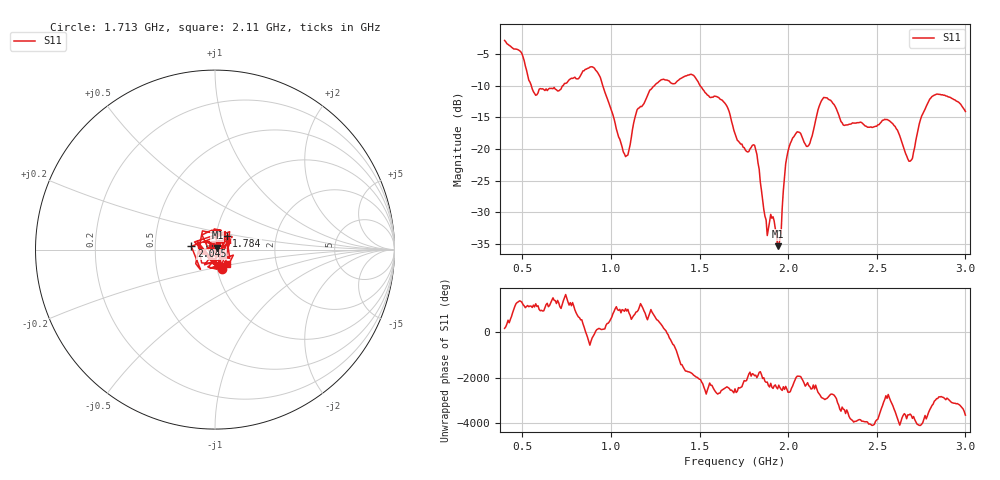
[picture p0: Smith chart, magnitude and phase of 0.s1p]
!Created with skrf (http://scikit-rf.org).
# Hz S RI R 50.0
!freq ReS11 ImS11
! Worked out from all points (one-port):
!   401 points, 400 MHz to 3 GHz, reference 50 ohm
!   lowest |S11| = -35.4 dB at 1.94 GHz (marker M1), VSWR 1.03, Z = 51.3 + j1.1 ohm
!   |S11| at or under -10 dB: 550.8 MHz to 728.3 MHz (177.5 MHz wide, 27.8 % of centre); 954 MHz to 1.245 GHz (291.5 MHz wide, 26.5 % of centre); 1.503 GHz to end of sweep
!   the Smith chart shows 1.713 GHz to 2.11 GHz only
!   S11 on the Smith chart (normalised r, x): 1.713 GHz: 1.06, -0.24; 1.784 GHz: 1.12, +0.17; 2.045 GHz: 0.77, +0.03; 2.11 GHz: 1.13, -0.19
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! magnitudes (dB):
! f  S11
! 400 MHz  -2.8
! 491 MHz  -4.6
! 569 MHz  -11.2
! 725 MHz  -10.1
! 907 MHz  -7.2
! 1.05 GHz  -18.5
! 1.089 GHz  -21.1
! 1.147 GHz  -13.8
! 1.226 GHz  -10.6
! 1.375 GHz  -9.2
! 1.629 GHz  -12.3
! 1.7 GHz  -17.6
! 1.713 GHz  -18.6
! 1.784 GHz  -20.0
! 1.823 GHz  -20.8
! 1.875 GHz  -31.2
! 1.94 GHz  -35.4
! 1.954 GHz  -34.2
! 1.992 GHz  -21.3
! 2.025 GHz  -18.3
! 2.045 GHz  -17.5
! 2.11 GHz  -19.6
! 2.207 GHz  -11.9
! 2.35 GHz  -16.1
! 2.571 GHz  -15.5
! 2.675 GHz  -21.6
! 2.812 GHz  -11.7
! 3 GHz  -14.1
